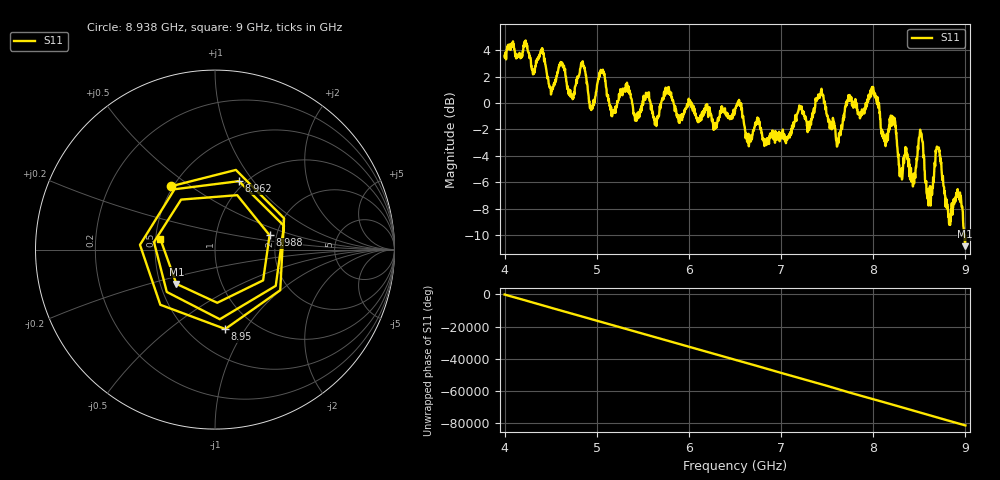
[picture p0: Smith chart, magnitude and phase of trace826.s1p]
! Created with skrf 1.8.0 (http://scikit-rf.org).
# Hz S RI R 50.0
!freq ReS11 ImS11
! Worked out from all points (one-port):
!   1601 points, 4 GHz to 9 GHz, reference 50 ohm
!   lowest |S11| = -10.8 dB at 8.997 GHz (marker M1), VSWR 1.81, Z = 30.3 - j12.6 ohm
!   |S11| at or under -10 dB: 8.987441 GHz to 8.989463 GHz (2.022 MHz wide, 0.0225 % of centre); 8.991255 GHz to end of sweep
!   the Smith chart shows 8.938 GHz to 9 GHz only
!   S11 on the Smith chart (normalised r, x): 8.938 GHz: 0.49, +0.42; 8.95 GHz: 0.74, -0.82; 8.962 GHz: 0.93, +0.85; 8.988 GHz: 1.84, +0.33; 9 GHz: 0.53, +0.07
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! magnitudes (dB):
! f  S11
! 4 GHz  3.6
! 4.625 GHz  3.0
! 4.725 GHz  0.6
! 4.853 GHz  2.9
! 4.944 GHz  -0.3
! 5.053 GHz  2.3
! 5.162 GHz  -0.5
! 5.25 GHz  0.6
! 5.875 GHz  -1.0
! 6.5 GHz  -0.6
! 7.125 GHz  -1.9
! 7.434 GHz  0.9
! 7.619 GHz  -2.7
! 7.75 GHz  0.2
! 8.003 GHz  1.0
! 8.112 GHz  -2.4
! 8.375 GHz  -4.1
! 8.438 GHz  -5.3
! 8.516 GHz  -2.3
! 8.603 GHz  -6.5
! 8.7 GHz  -3.4
! 8.816 GHz  -8.6
! 8.938 GHz  -7.3
! 8.95 GHz  -7.0
! 8.962 GHz  -7.9
! 8.988 GHz  -10.0
! 8.997 GHz  -10.8
! 9 GHz  -10.2
